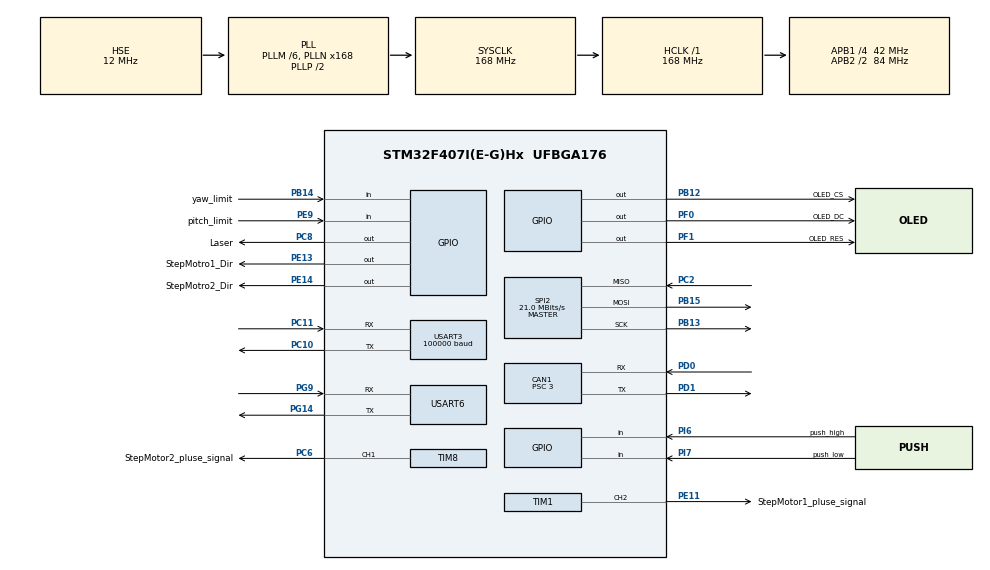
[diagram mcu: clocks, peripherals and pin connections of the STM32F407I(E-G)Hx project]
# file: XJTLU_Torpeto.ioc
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CAN1.BS1=CAN_BS1_10TQ
CAN1.BS2=CAN_BS2_3TQ
CAN1.CalculateBaudRate=1000000
CAN1.CalculateTimeBit=999.99
CAN1.CalculateTimeQuantum=71.42857142857143
CAN1.Prescaler=3
Dma.Request0=USART3_RX
Dma.Request1=USART6_RX
Dma.Request2=USART6_TX
Dma.USART3_RX.0.Direction=DMA_PERIPH_TO_MEMORY
Dma.USART3_RX.0.FIFOMode=DMA_FIFOMODE_DISABLE
Dma.USART3_RX.0.Instance=DMA1_Stream1
Dma.USART3_RX.0.MemDataAlignment=DMA_MDATAALIGN_BYTE
Dma.USART3_RX.0.MemInc=DMA_MINC_ENABLE
Dma.USART3_RX.0.Mode=DMA_NORMAL
Dma.USART3_RX.0.PeriphDataAlignment=DMA_PDATAALIGN_BYTE
Dma.USART3_RX.0.PeriphInc=DMA_PINC_DISABLE
Dma.USART3_RX.0.Priority=DMA_PRIORITY_VERY_HIGH
Dma.USART6_RX.1.Direction=DMA_PERIPH_TO_MEMORY
Dma.USART6_RX.1.FIFOMode=DMA_FIFOMODE_DISABLE
Dma.USART6_RX.1.Instance=DMA2_Stream1
Dma.USART6_RX.1.MemDataAlignment=DMA_MDATAALIGN_BYTE
Dma.USART6_RX.1.MemInc=DMA_MINC_ENABLE
Dma.USART6_RX.1.Mode=DMA_NORMAL
Dma.USART6_RX.1.PeriphDataAlignment=DMA_PDATAALIGN_BYTE
Dma.USART6_RX.1.PeriphInc=DMA_PINC_DISABLE
Dma.USART6_RX.1.Priority=DMA_PRIORITY_HIGH
Dma.USART6_TX.2.Direction=DMA_MEMORY_TO_PERIPH
Dma.USART6_TX.2.FIFOMode=DMA_FIFOMODE_DISABLE
Dma.USART6_TX.2.Instance=DMA2_Stream6
Dma.USART6_TX.2.MemDataAlignment=DMA_MDATAALIGN_BYTE
Dma.USART6_TX.2.MemInc=DMA_MINC_ENABLE
Dma.USART6_TX.2.Mode=DMA_NORMAL
Dma.USART6_TX.2.PeriphDataAlignment=DMA_PDATAALIGN_BYTE
Dma.USART6_TX.2.PeriphInc=DMA_PINC_DISABLE
Dma.USART6_TX.2.Priority=DMA_PRIORITY_HIGH
FREERTOS.Tasks01=defaultTask,0,128,StartDefaultTask,Default,NULL,Dynamic,NULL,NULL
Mcu.Family=STM32F4
Mcu.Name=STM32F407I(E-G)Hx
Mcu.Package=UFBGA176
NVIC.CAN1_RX0_IRQn=true\:5\:0\:false\:false\:true\:true\:true\:true
NVIC.DMA1_Stream1_IRQn=true\:5\:0\:false\:false\:true\:true\:false\:true
NVIC.DMA2_Stream1_IRQn=true\:5\:0\:false\:false\:true\:true\:false\:true
NVIC.DMA2_Stream6_IRQn=true\:5\:0\:false\:false\:true\:true\:false\:true
NVIC.PriorityGroup=NVIC_PRIORITYGROUP_4
NVIC.TIM2_IRQn=true\:15\:0\:false\:false\:true\:false\:true\:true
NVIC.TIM3_IRQn=true\:5\:0\:false\:false\:true\:true\:true\:true
NVIC.TIM4_IRQn=true\:5\:0\:false\:false\:true\:true\:true\:true
NVIC.TimeBase=TIM2_IRQn
NVIC.TimeBaseIP=TIM2
NVIC.USART3_IRQn=true\:5\:0\:false\:false\:true\:true\:true\:true
NVIC.USART6_IRQn=true\:5\:0\:false\:false\:true\:true\:true\:true
PA13.Mode=Serial_Wire
PA13.Signal=SYS_JTMS-SWDIO
PA14.Mode=Serial_Wire
PA14.Signal=SYS_JTCK-SWCLK
PB12.GPIO_Label=OLED_CS
PB12.GPIO_PuPd=GPIO_PULLUP
PB12.GPIO_Speed=GPIO_SPEED_FREQ_VERY_HIGH
PB12.Signal=GPIO_Output
PB13.Mode=Full_Duplex_Master
PB13.Signal=SPI2_SCK
PB14.GPIO_Label=yaw_limit
PB14.GPIO_PuPd=GPIO_PULLDOWN
PB14.Signal=GPIO_Input
PB15.Mode=Full_Duplex_Master
PB15.Signal=SPI2_MOSI
PC10.Mode=Asynchronous
PC10.Signal=USART3_TX
PC11.Mode=Asynchronous
PC11.Signal=USART3_RX
PC2.Mode=Full_Duplex_Master
PC2.Signal=SPI2_MISO
PC6.GPIO_Label=StepMotor2_pluse_signal
PC6.GPIO_Speed=GPIO_SPEED_FREQ_VERY_HIGH
PC6.Signal=S_TIM8_CH1
PC8.GPIO_Label=Laser
PC8.GPIO_Speed=GPIO_SPEED_FREQ_HIGH
PC8.Signal=GPIO_Output
PD0.Mode=CAN_Activate
PD0.Signal=CAN1_RX
PD1.Mode=CAN_Activate
PD1.Signal=CAN1_TX
PE11.GPIO_Label=StepMotor1_pluse_signal
PE11.GPIO_Speed=GPIO_SPEED_FREQ_VERY_HIGH
PE11.Signal=S_TIM1_CH2
PE13.GPIO_Label=StepMotro1_Dir
PE13.GPIO_Speed=GPIO_SPEED_FREQ_HIGH
PE13.Signal=GPIO_Output
PE14.GPIO_Label=StepMotro2_Dir
PE14.GPIO_Speed=GPIO_SPEED_FREQ_HIGH
PE14.Signal=GPIO_Output
PE9.GPIO_Label=pitch_limit
PE9.GPIO_PuPd=GPIO_PULLDOWN
PE9.Signal=GPIO_Input
PF0.GPIO_Label=OLED_DC
PF0.GPIO_PuPd=GPIO_PULLUP
PF0.GPIO_Speed=GPIO_SPEED_FREQ_VERY_HIGH
PF0.Signal=GPIO_Output
PF1.GPIO_Label=OLED_RES
PF1.GPIO_PuPd=GPIO_PULLUP
PF1.GPIO_Speed=GPIO_SPEED_FREQ_VERY_HIGH
PF1.Signal=GPIO_Output
PG14.Mode=Asynchronous
PG14.Signal=USART6_TX
PG9.Mode=Asynchronous
PG9.Signal=USART6_RX
PH0-OSC_IN.Mode=HSE-External-Oscillator
PH0-OSC_IN.Signal=RCC_OSC_IN
PH1-OSC_OUT.Mode=HSE-External-Oscillator
PH1-OSC_OUT.Signal=RCC_OSC_OUT
PI6.GPIO_Label=push_high
PI6.GPIO_PuPd=GPIO_PULLDOWN
PI6.Signal=GPIO_Input
PI7.GPIO_Label=push_low
PI7.GPIO_PuPd=GPIO_PULLDOWN
PI7.Signal=GPIO_Input
ProjectManager.HeapSize=0x200
ProjectManager.StackSize=0x400
ProjectManager.TargetToolchain=MDK-ARM V5.32
RCC.48MHZClocksFreq_Value=84000000
RCC.AHBFreq_Value=168000000
RCC.APB1CLKDivider=RCC_HCLK_DIV4
RCC.APB1Freq_Value=42000000
RCC.APB1TimFreq_Value=84000000
RCC.APB2CLKDivider=RCC_HCLK_DIV2
RCC.APB2Freq_Value=84000000
RCC.APB2TimFreq_Value=168000000
RCC.CortexFreq_Value=168000000
RCC.HCLKFreq_Value=168000000
RCC.HSE_VALUE=12000000
RCC.HSI_VALUE=16000000
RCC.LSE_VALUE=32768
RCC.PLLM=6
RCC.PLLN=168
RCC.PLLSourceVirtual=RCC_PLLSOURCE_HSE
RCC.SYSCLKFreq_VALUE=168000000
RCC.SYSCLKSource=RCC_SYSCLKSOURCE_PLLCLK
RCC.VCOOutputFreq_Value=336000000
SH.S_TIM1_CH2.0=TIM1_CH2,PWM Generation2 CH2
SH.S_TIM8_CH1.0=TIM8_CH1,PWM Generation1 CH1
SPI2.CalculateBaudRate=21.0 MBits/s
SPI2.Direction=SPI_DIRECTION_2LINES
SPI2.Mode=SPI_MODE_MASTER
SPI2.VirtualType=VM_MASTER
TIM1.AutoReloadPreload=TIM_AUTORELOAD_PRELOAD_ENABLE
TIM1.Channel-PWM\ Generation2\ CH2=TIM_CHANNEL_2
TIM1.OC2Preload_PWM=DISABLE
TIM1.OCFastMode_PWM-PWM\ Generation2\ CH2=TIM_OCFAST_DISABLE
TIM1.OCPolarity_2=TIM_OCPOLARITY_LOW
TIM1.Period=100-1
TIM1.Prescaler=150-1
TIM1.Pulse-PWM\ Generation2\ CH2=50
TIM1.TIM_MasterOutputTrigger=TIM_TRGO_UPDATE
TIM1.TIM_MasterSlaveMode=TIM_MASTERSLAVEMODE_ENABLE
TIM8.AutoReloadPreload=TIM_AUTORELOAD_PRELOAD_ENABLE
TIM8.Channel-PWM\ Generation1\ CH1=TIM_CHANNEL_1
TIM8.OC1Preload_PWM=DISABLE
TIM8.OCFastMode_PWM-PWM\ Generation1\ CH1=TIM_OCFAST_DISABLE
TIM8.OCPolarity_1=TIM_OCPOLARITY_LOW
TIM8.Period=100-1
TIM8.Prescaler=150-1
TIM8.Pulse-PWM\ Generation1\ CH1=50
TIM8.TIM_MasterOutputTrigger=TIM_TRGO_UPDATE
TIM8.TIM_MasterSlaveMode=TIM_MASTERSLAVEMODE_ENABLE
USART3.BaudRate=100000
USART3.Mode=MODE_RX
USART3.Parity=PARITY_EVEN
USART3.VirtualMode=VM_ASYNC
USART6.VirtualMode=VM_ASYNC
VP_FREERTOS_VS_CMSIS_V1.Mode=CMSIS_V1
VP_SYS_VS_tim2.Mode=TIM2
VP_TIM3_VS_ClockSourceINT.Mode=Internal
VP_TIM3_VS_ClockSourceITR.Mode=TriggerSource_ITR0
VP_TIM3_VS_ControllerModeGated.Mode=Gated Mode
VP_TIM4_VS_ClockSourceINT.Mode=Internal
VP_TIM4_VS_ClockSourceITR.Mode=TriggerSource_ITR3
VP_TIM4_VS_ControllerModeGated.Mode=Gated Mode
board=custom

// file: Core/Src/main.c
/* USER CODE BEGIN Header */
/**
  ******************************************************************************
  * @file           : main.c
  * @brief          : Main program body
  ******************************************************************************
  * @attention
  *
  * <h2><center>&copy; Copyright (c) 2022 STMicroelectronics.
  * All rights reserved.</center></h2>
  *
  * This software component is licensed by ST under BSD 3-Clause license,
  * the "License"; You may not use this file except in compliance with the
  * License. You may obtain a copy of the License at:
  *                        opensource.org/licenses/BSD-3-Clause
  *
  ******************************************************************************
  */
/* USER CODE END Header */
#include "main.h"
#include "cmsis_os.h"
#include "can.h"
#include "dma.h"
#include "spi.h"
#include "tim.h"
#include "usart.h"
#include "gpio.h"

/* USER CODE BEGIN Includes */

#include "remote_control.h"
#include "bsp_StepMotor.h"
#include "step_motor_task.h"
#include "bsp_can.h"
#include "CAN_receive.h"
#include "user_pid.h"
#include "oled.h"
#include "OLED_task.h"
#include "mode_task.h"
#include "Torpedo_data.h"
#include "bsp_flash.h"

/* USER CODE END Includes */

/* USER CODE BEGIN PV */

extern RC_ctrl_t rc_ctrl;
extern motor_measure_t motor_chassis[7];

/* USER CODE END PV */

void SystemClock_Config(void);
void MX_FREERTOS_Init(void);

int main(void)
{

  /* MCU Configuration--------------------------------------------------------*/

  /* Reset of all peripherals, Initializes the Flash interface and the Systick. */
  HAL_Init();

  /* Configure the system clock */
  SystemClock_Config();

  /* Initialize all configured peripherals */
  MX_GPIO_Init();
  MX_DMA_Init();
  MX_USART3_UART_Init();
  MX_CAN1_Init();
  MX_TIM1_Init();
  MX_TIM8_Init();
  MX_SPI2_Init();
  MX_USART6_UART_Init();
  MX_TIM3_Init();
  MX_TIM4_Init();
  /* USER CODE BEGIN 2 */

	remote_control_init();
	can_filter_init();
	user_pid_Init();
	OLED_Init();
	Torpedo_data_Init();

	HAL_TIM_Base_Start_IT(&motor_yaw_PWM_Slave_TIM_Handle);
  __HAL_TIM_SET_AUTORELOAD(&motor_yaw_PWM_Slave_TIM_Handle, 0);

		HAL_TIM_Base_Start_IT(&motor_pitch_PWM_Slave_TIM_Handle);
  __HAL_TIM_SET_AUTORELOAD(&motor_pitch_PWM_Slave_TIM_Handle, 0);

	adjust_flag = 3; //运行到两个微动处，作为绝对零点

  /* USER CODE END 2 */

  /* Call init function for freertos objects (in freertos.c) */
  MX_FREERTOS_Init();
  /* Start scheduler */
  osKernelStart();

  /* We should never get here as control is now taken by the scheduler */
  /* Infinite loop */
  while (1)
  {

  }
}

void SystemClock_Config(void)
{
  RCC_OscInitTypeDef RCC_OscInitStruct = {0};
  RCC_ClkInitTypeDef RCC_ClkInitStruct = {0};

  /** Configure the main internal regulator output voltage
  */
  __HAL_RCC_PWR_CLK_ENABLE();
  __HAL_PWR_VOLTAGESCALING_CONFIG(PWR_REGULATOR_VOLTAGE_SCALE1);
  /** Initializes the RCC Oscillators according to the specified parameters
  * in the RCC_OscInitTypeDef structure.
  */
  RCC_OscInitStruct.OscillatorType = RCC_OSCILLATORTYPE_HSE;
  RCC_OscInitStruct.HSEState = RCC_HSE_ON;
  RCC_OscInitStruct.PLL.PLLState = RCC_PLL_ON;
  RCC_OscInitStruct.PLL.PLLSource = RCC_PLLSOURCE_HSE;
  RCC_OscInitStruct.PLL.PLLM = 6;
  RCC_OscInitStruct.PLL.PLLN = 168;
  RCC_OscInitStruct.PLL.PLLP = RCC_PLLP_DIV2;
  RCC_OscInitStruct.PLL.PLLQ = 4;
  if (HAL_RCC_OscConfig(&RCC_OscInitStruct) != HAL_OK)
  {
    Error_Handler();
  }
  /** Initializes the CPU, AHB and APB buses clocks
  */
  RCC_ClkInitStruct.ClockType = RCC_CLOCKTYPE_HCLK|RCC_CLOCKTYPE_SYSCLK
                              |RCC_CLOCKTYPE_PCLK1|RCC_CLOCKTYPE_PCLK2;
  RCC_ClkInitStruct.SYSCLKSource = RCC_SYSCLKSOURCE_PLLCLK;
  RCC_ClkInitStruct.AHBCLKDivider = RCC_SYSCLK_DIV1;
  RCC_ClkInitStruct.APB1CLKDivider = RCC_HCLK_DIV4;
  RCC_ClkInitStruct.APB2CLKDivider = RCC_HCLK_DIV2;

  if (HAL_RCC_ClockConfig(&RCC_ClkInitStruct, FLASH_LATENCY_5) != HAL_OK)
  {
    Error_Handler();
  }
}

__weak void HAL_TIM_PeriodElapsedCallback(TIM_HandleTypeDef *htim)
{
  if (htim->Instance == TIM2) {
    HAL_IncTick();
  }
}

void Error_Handler(void)
{
  __disable_irq();
  while (1)
  {
  }
}

/************************ (C) COPYRIGHT STMicroelectronics *****END OF FILE****/

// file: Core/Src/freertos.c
/* USER CODE BEGIN Header */
/**
  ******************************************************************************
  * File Name          : freertos.c
  * Description        : Code for freertos applications
  ******************************************************************************
  * @attention
  *
  * <h2><center>&copy; Copyright (c) 2022 STMicroelectronics.
  * All rights reserved.</center></h2>
  *
  * This software component is licensed by ST under Ultimate Liberty license
  * SLA0044, the "License"; You may not use this file except in compliance with
  * the License. You may obtain a copy of the License at:
  *                             www.st.com/SLA0044
  *
  ******************************************************************************
  */
/* USER CODE END Header */

#include "FreeRTOS.h"
#include "task.h"
#include "main.h"
#include "cmsis_os.h"

/* USER CODE BEGIN Includes */

#include "shoot_speed_control.h"
#include "mode_task.h"
#include "OLED_task.h"
#include "referee_usart_task.h"
#include "referee_send_task.h"
#include "StepMotor_position_reset_task.h"
#include "competition_mode_task.h"
#include "choose_torpedo_task.h"
#include "position_adjust_task.h"
#include "competition_shoot_task.h"
#include "competion_step_motor_task.h"
#include "abort_end_task.h"

/* USER CODE END Includes */

/* USER CODE BEGIN PTD */

extern void oled_show_task(void const * argument);
extern void mode_choose_task(void const * argument);
extern void c_shoot_task(void const * argument);

/* USER CODE END PTD */

osThreadId defaultTaskHandle;

/* USER CODE BEGIN FunctionPrototypes */

osThreadId shootTaskHandle;
osThreadId modeTaskHandle;
osThreadId OLEDTaskHandle;
osThreadId RefereeSendTaskHandle;
osThreadId PositionResetTaskHandle;
osThreadId CompetitionTaskHandle;
osThreadId chooseTorpedoTaskHandle;
osThreadId PositionAdjustTaskHandle;
osThreadId CompetitionShootTaskHandle;
osThreadId C_StepShootTaskHandle;
osThreadId AbortEndTaskHandle;

/* USER CODE END FunctionPrototypes */

void StartDefaultTask(void const * argument);

void MX_FREERTOS_Init(void); /* (MISRA C 2004 rule 8.1) */

/* GetIdleTaskMemory prototype (linked to static allocation support) */
void vApplicationGetIdleTaskMemory( StaticTask_t **ppxIdleTaskTCBBuffer, StackType_t **ppxIdleTaskStackBuffer, uint32_t *pulIdleTaskStackSize );

/* USER CODE BEGIN GET_IDLE_TASK_MEMORY */
static StaticTask_t xIdleTaskTCBBuffer;
static StackType_t xIdleStack[configMINIMAL_STACK_SIZE];

void vApplicationGetIdleTaskMemory( StaticTask_t **ppxIdleTaskTCBBuffer, StackType_t **ppxIdleTaskStackBuffer, uint32_t *pulIdleTaskStackSize )
{
  *ppxIdleTaskTCBBuffer = &xIdleTaskTCBBuffer;
  *ppxIdleTaskStackBuffer = &xIdleStack[0];
  *pulIdleTaskStackSize = configMINIMAL_STACK_SIZE;
  /* place for user code */
}
/* USER CODE END GET_IDLE_TASK_MEMORY */

void MX_FREERTOS_Init(void) {

  /* Create the thread(s) */
  /* definition and creation of defaultTask */
  osThreadDef(defaultTask, StartDefaultTask, osPriorityNormal, 0, 128);
  defaultTaskHandle = osThreadCreate(osThread(defaultTask), NULL);

  /* USER CODE BEGIN RTOS_THREADS */
  /* add threads, ... */

	/* definition and creation of shootTask*/
  osThreadDef(shootTask, shoot_speed_task, osPriorityHigh, 0, 512);
  shootTaskHandle = osThreadCreate(osThread(shootTask), NULL);

	/* definition and creation of modeTask*/
  osThreadDef(modeTask, mode_choose_task, osPriorityLow, 0, 512);
  modeTaskHandle = osThreadCreate(osThread(modeTask), NULL);

	/* definition and creation of shootTask*/
  osThreadDef(OLEDTask, oled_show_task, osPriorityNormal, 0, 256);
  OLEDTaskHandle = osThreadCreate(osThread(OLEDTask), NULL);

	osThreadDef(usartTask, referee_usart_task, osPriorityBelowNormal, 0, 256);
  OLEDTaskHandle = osThreadCreate(osThread(usartTask), NULL);

	osThreadDef(RefereeSendTask, referee_send_task, osPriorityNormal, 0, 512);
  RefereeSendTaskHandle = osThreadCreate(osThread(RefereeSendTask), NULL);

	osThreadDef(PositionResetTask, step_motor_reset_task, osPriorityNormal, 0, 128);
  PositionResetTaskHandle = osThreadCreate(osThread(PositionResetTask), NULL);

	osThreadDef(CompetitionTask, competition_mode_task, osPriorityNormal, 0, 128);
  CompetitionTaskHandle = osThreadCreate(osThread(CompetitionTask), NULL);

	osThreadDef(chooseTorpedoTask, choose_task, osPriorityNormal, 0, 128);
  chooseTorpedoTaskHandle = osThreadCreate(osThread(chooseTorpedoTask), NULL);

	osThreadDef(PositionAdjustTask, adjust_task, osPriorityNormal, 0, 128);
  PositionAdjustTaskHandle = osThreadCreate(osThread(PositionAdjustTask), NULL);

	osThreadDef(CompetitionShootTask, c_shoot_task, osPriorityNormal, 0, 128);
  CompetitionShootTaskHandle = osThreadCreate(osThread(CompetitionShootTask), NULL);

	osThreadDef(C_StepShootTask, c_step_task, osPriorityAboveNormal, 0, 256);
  C_StepShootTaskHandle = osThreadCreate(osThread(C_StepShootTask), NULL);

	osThreadDef(AbortEndTask, abort_end_task, osPriorityNormal, 0, 128);
  AbortEndTaskHandle = osThreadCreate(osThread(AbortEndTask), NULL);

  /* USER CODE END RTOS_THREADS */

}

void StartDefaultTask(void const * argument)
{
  for(;;)
  {
    osDelay(1);
  }
}

/************************ (C) COPYRIGHT STMicroelectronics *****END OF FILE****/
